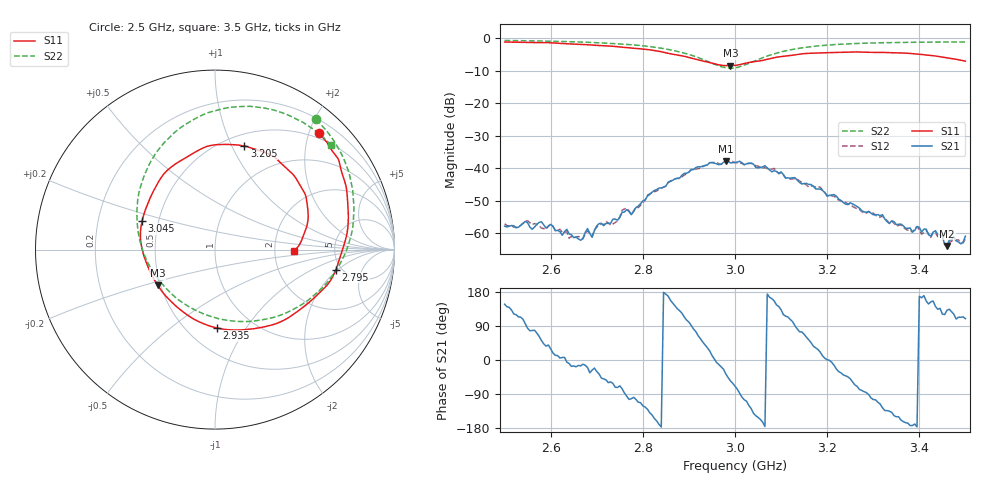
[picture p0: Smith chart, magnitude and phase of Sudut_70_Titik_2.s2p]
# Hz S RI R 50
! CMT, C1220, 16058040, 17.2.0/1
! Date: 15/08/2018 10:48:38
! Data: Format (Calibration Info)
! Freq  S11: Re/Im (F2)  S21: Re/Im (F2)  S12: Re/Im (F2)  S22: Re/Im (F2)
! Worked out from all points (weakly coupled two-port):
!   201 points, 2.5 GHz to 3.5 GHz, reference 50 ohm
!   highest |S21| = -37.80 dB at 2.98 GHz (marker M1); lowest = -63.8 dB at 3.46 GHz (marker M2)
!   lowest |S11| = -8.5 dB at 2.99 GHz (marker M3), VSWR 2.20, Z = 24.1 - j11.1 ohm
!   |S11| at or under -10 dB: nowhere
!   |S22| runs from -9.2 to -0.7 dB; largest |S21 - S12| = 0.00084
!   S11 on the Smith chart (normalised r, x): 2.5 GHz: 0.41, +2.18; 2.795 GHz: 4.48, -1.87; 2.935 GHz: 0.69, -0.75; 3.045 GHz: 0.40, +0.16; 3.205 GHz: 0.62, +1.12; 3.5 GHz: 2.58, -0.05
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2.5e9  0.5809 0.6469  -0.00109 0.000697  -0.00118 0.000768  0.5634 0.7255
2.58e9  0.6789 0.5161  0.00094 0.00118  0.000809 0.000898  0.6519 0.6212
2.67e9  0.7357 0.3092  0.000818 -0.000161  0.000809 -0.000182  0.7374 0.4538
2.68e9  0.7382 0.2792  0.00111 -0.000402  0.00103 -0.000392  0.7456 0.4316
2.69e9  0.7404 0.2447  0.000781 -0.000392  0.000812 -0.000387  0.7514 0.4082
2.705e9  0.7426 0.1993  0.00113 -0.000847  0.0011 -0.000771  0.7603 0.3693
2.765e9  0.7126 0.00702  -0.000229 -0.0023  -0.000267 -0.00243  0.7729 0.1988
2.775e9  0.7013 -0.0276  -0.000408 -0.00189  -0.000498 -0.00188  0.7712 0.164
2.795e9  0.6734 -0.1115  -0.00111 -0.00264  -0.00109 -0.00247  0.7618 0.0933
2.835e9  0.5744 -0.2488  -0.00489 -0.000895  -0.0047 -0.000978  0.7041 -0.0653
2.935e9  0.01 -0.4367  0.00843 0.00711  0.00812 0.00746  0.2221 -0.397
2.98e9  -0.2737 -0.2594  0.0103 -0.00768  0.0102 -0.00718  -0.1413 -0.3208
2.99e9  -0.3192 -0.1984  0.00696 -0.00991  0.00751 -0.0103  -0.2143 -0.2717
3e9  -0.357 -0.1333  0.00432 -0.0114  0.00373 -0.0117  -0.279 -0.2094
3.045e9  -0.4056 0.1602  -0.00867 -0.00564  -0.00912 -0.00616  -0.4323 0.134
3.095e9  -0.2693 0.4387  -0.00653 0.00525  -0.006 0.00567  -0.366 0.4757
3.17e9  0.0322 0.5856  0.00424 0.00314  0.00402 0.00349  -0.092 0.7393
3.205e9  0.1635 0.5765  0.00385 -6.51e-05  0.00387 -0.000291  0.036 0.7829
3.335e9  0.4645 0.3747  -0.001 -0.001  -0.0011 -0.00093  0.3921 0.7559
3.435e9  0.5128 0.1354  -0.000861 0.000687  -0.000796 0.000666  0.5628 0.6585
3.46e9  0.4908 0.0733  -0.000424 0.000486  -0.000398 0.000498  0.5972 0.6315
3.5e9  0.4415 -0.00765  -0.000297 0.000858  -0.000229 0.000796  0.644 0.5843
